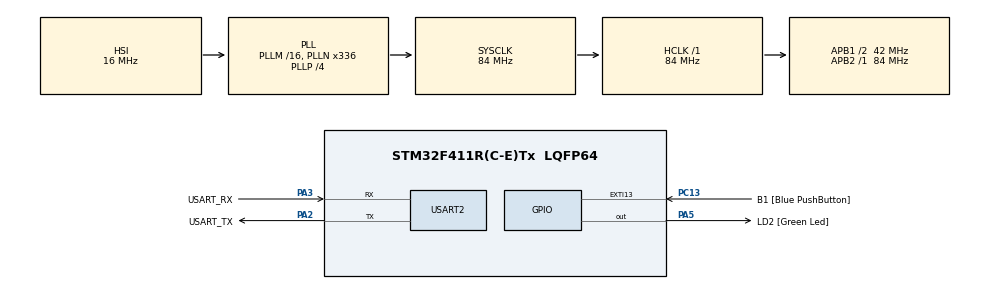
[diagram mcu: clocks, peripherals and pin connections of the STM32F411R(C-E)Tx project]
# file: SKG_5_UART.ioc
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Mcu.Family=STM32F4
Mcu.Name=STM32F411R(C-E)Tx
Mcu.Package=LQFP64
NVIC.PriorityGroup=NVIC_PRIORITYGROUP_0
NVIC.USART2_IRQn=true\:0\:0\:false\:false\:true\:true\:true\:true
PA13.GPIO_Label=TMS
PA13.Mode=Serial_Wire
PA13.Signal=SYS_JTMS-SWDIO
PA14.GPIO_Label=TCK
PA14.Mode=Serial_Wire
PA14.Signal=SYS_JTCK-SWCLK
PA2.GPIO_Label=USART_TX
PA2.Mode=Asynchronous
PA2.Signal=USART2_TX
PA3.GPIO_Label=USART_RX
PA3.Mode=Asynchronous
PA3.Signal=USART2_RX
PA5.GPIO_Label=LD2 [Green Led]
PA5.Signal=GPIO_Output
PB3.GPIO_Label=SWO
PB3.Signal=SYS_JTDO-SWO
PC13-ANTI_TAMP.GPIO_Label=B1 [Blue PushButton]
PC13-ANTI_TAMP.GPIO_ModeDefaultEXTI=GPIO_MODE_IT_FALLING
PC13-ANTI_TAMP.Signal=GPXTI13
PC14-OSC32_IN.Mode=LSE-External-Oscillator
PC14-OSC32_IN.Signal=RCC_OSC32_IN
PC15-OSC32_OUT.Mode=LSE-External-Oscillator
PC15-OSC32_OUT.Signal=RCC_OSC32_OUT
PH0\ -\ OSC_IN.Mode=HSE-External-Clock-Source
PH0\ -\ OSC_IN.Signal=RCC_OSC_IN
PH1\ -\ OSC_OUT.Mode=HSE-External-Clock-Source
PH1\ -\ OSC_OUT.Signal=RCC_OSC_OUT
ProjectManager.HeapSize=0x200
ProjectManager.StackSize=0x400
ProjectManager.TargetToolchain=STM32CubeIDE
RCC.48MHZClocksFreq_Value=84000000
RCC.AHBFreq_Value=84000000
RCC.APB1CLKDivider=RCC_HCLK_DIV2
RCC.APB1Freq_Value=42000000
RCC.APB1TimFreq_Value=84000000
RCC.APB2Freq_Value=84000000
RCC.APB2TimFreq_Value=84000000
RCC.CortexFreq_Value=84000000
RCC.FLatency-AdvancedSettings=FLASH_LATENCY_2
RCC.HCLKFreq_Value=84000000
RCC.HSE_VALUE=8000000
RCC.HSI_VALUE=16000000
RCC.PLLN=336
RCC.PLLP=RCC_PLLP_DIV4
RCC.SYSCLKFreq_VALUE=84000000
RCC.SYSCLKSource=RCC_SYSCLKSOURCE_PLLCLK
RCC.VCOOutputFreq_Value=336000000
USART2.VirtualMode=VM_ASYNC
board=NUCLEO-F411RE

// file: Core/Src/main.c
/* USER CODE BEGIN Header */
/**
  ******************************************************************************
  * @file           : main.c
  * @brief          : Main program body
  ******************************************************************************
  * @attention
  *
  * Copyright (c) 2022 STMicroelectronics.
  * All rights reserved.
  *
  * This software is licensed under terms that can be found in the LICENSE file
  * in the root directory of this software component.
  * If no LICENSE file comes with this software, it is provided AS-IS.
  *
  ******************************************************************************
  */
/* USER CODE END Header */
#include "main.h"
#include "usart.h"
#include "gpio.h"
#include "stdio.h"

/* USER CODE BEGIN PV */
uint8_t znak;
char komunikat[20];
uint16_t dl_kom;
/* USER CODE END PV */

void SystemClock_Config(void);

int main(void)
{

  /* MCU Configuration--------------------------------------------------------*/

  /* Reset of all peripherals, Initializes the Flash interface and the Systick. */
  HAL_Init();

  /* Configure the system clock */
  SystemClock_Config();

  /* Initialize all configured peripherals */
  MX_GPIO_Init();
  MX_USART2_UART_Init();
  /* USER CODE BEGIN 2 */
  HAL_UART_Receive_IT(&huart2, &znak, 1);
  /* USER CODE END 2 */

  /* Infinite loop */
  while (1)
  {

  }
}

void SystemClock_Config(void)
{
  RCC_OscInitTypeDef RCC_OscInitStruct = {0};
  RCC_ClkInitTypeDef RCC_ClkInitStruct = {0};

  /** Configure the main internal regulator output voltage
  */
  __HAL_RCC_PWR_CLK_ENABLE();
  __HAL_PWR_VOLTAGESCALING_CONFIG(PWR_REGULATOR_VOLTAGE_SCALE1);

  /** Initializes the RCC Oscillators according to the specified parameters
  * in the RCC_OscInitTypeDef structure.
  */
  RCC_OscInitStruct.OscillatorType = RCC_OSCILLATORTYPE_HSI;
  RCC_OscInitStruct.HSIState = RCC_HSI_ON;
  RCC_OscInitStruct.HSICalibrationValue = RCC_HSICALIBRATION_DEFAULT;
  RCC_OscInitStruct.PLL.PLLState = RCC_PLL_ON;
  RCC_OscInitStruct.PLL.PLLSource = RCC_PLLSOURCE_HSI;
  RCC_OscInitStruct.PLL.PLLM = 16;
  RCC_OscInitStruct.PLL.PLLN = 336;
  RCC_OscInitStruct.PLL.PLLP = RCC_PLLP_DIV4;
  RCC_OscInitStruct.PLL.PLLQ = 4;
  if (HAL_RCC_OscConfig(&RCC_OscInitStruct) != HAL_OK)
  {
    Error_Handler();
  }

  /** Initializes the CPU, AHB and APB buses clocks
  */
  RCC_ClkInitStruct.ClockType = RCC_CLOCKTYPE_HCLK|RCC_CLOCKTYPE_SYSCLK
                              |RCC_CLOCKTYPE_PCLK1|RCC_CLOCKTYPE_PCLK2;
  RCC_ClkInitStruct.SYSCLKSource = RCC_SYSCLKSOURCE_PLLCLK;
  RCC_ClkInitStruct.AHBCLKDivider = RCC_SYSCLK_DIV1;
  RCC_ClkInitStruct.APB1CLKDivider = RCC_HCLK_DIV2;
  RCC_ClkInitStruct.APB2CLKDivider = RCC_HCLK_DIV1;

  if (HAL_RCC_ClockConfig(&RCC_ClkInitStruct, FLASH_LATENCY_2) != HAL_OK)
  {
    Error_Handler();
  }
}

/* USER CODE BEGIN 4 */
void HAL_UART_RxCpltCallback(UART_HandleTypeDef *huart)
{
	if (huart->Instance == USART2)
	{
		if (znak == 'e')
		{
			HAL_GPIO_WritePin(LD2_GPIO_Port, LD2_Pin, GPIO_PIN_SET);
			dl_kom = sprintf(komunikat, "\rDIODA_ON\n");
		}
		else if (znak == 'd')
		{
			HAL_GPIO_WritePin(LD2_GPIO_Port, LD2_Pin, GPIO_PIN_RESET);
			dl_kom = sprintf(komunikat, "\rDIODA_OFF\n");
		}
		else
		{
			dl_kom = sprintf(komunikat, "\rZLY ZNAK\n");
		}
		HAL_UART_Transmit_IT(&huart2, komunikat, dl_kom);
		HAL_UART_Receive_IT(&huart2, &znak, 1);
	}
}
/* USER CODE END 4 */

void Error_Handler(void)
{
  __disable_irq();
  while (1)
  {
  }
}
